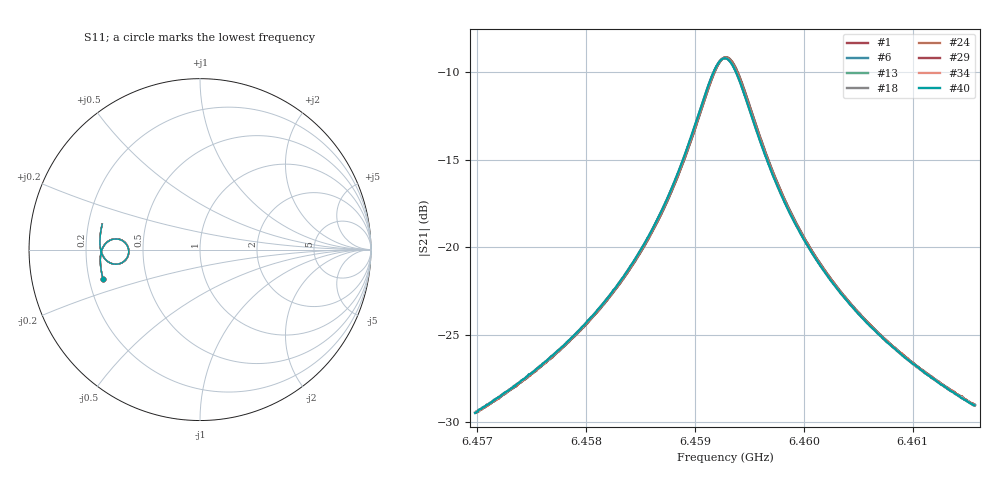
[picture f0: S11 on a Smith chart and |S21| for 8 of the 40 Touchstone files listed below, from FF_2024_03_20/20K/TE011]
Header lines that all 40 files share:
#  HZ  S  RI  R  50.00
! Rohde & Schwarz Vector Network Analyzer
! Rohde-Schwarz,ZNB20-2Port,1311601062101988,3.16
! freq[Hz]  re:S11  im:S11  re:S21  im:S21  re:S12  im:S12  re:S22  im:S22
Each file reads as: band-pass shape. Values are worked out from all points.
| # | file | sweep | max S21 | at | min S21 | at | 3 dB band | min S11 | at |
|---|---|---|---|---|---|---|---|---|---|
| 1 | 120_1_16.9999_20.5120468_30956.09_323.79889702796936_.s2p | 6.45701 GHz to 6.461566 GHz | -9.16 dB | 6.459288 GHz | -29.4 dB | 6.45701 GHz | 6.45906 GHz-6.459516 GHz | -7.6 dB | 6.459288 GHz |
| 2 | 121_1_16.9998_20.5075474_31166.146_326.1914463043213_.s2p | 6.457008 GHz to 6.461567 GHz | -9.16 dB | 6.459288 GHz | -29.4 dB | 6.457008 GHz | 6.45906 GHz-6.459504 GHz | -7.6 dB | 6.459288 GHz |
| 3 | 122_1_16.9997_20.5043926_32066.918_334.50564908981323_.s2p | 6.457009 GHz to 6.461565 GHz | -9.17 dB | 6.459287 GHz | -29.4 dB | 6.457009 GHz | 6.459059 GHz-6.459504 GHz | -7.6 dB | 6.459287 GHz |
| 4 | 123_1_16.9991_20.490406_32257.48_337.01782727241516_.s2p | 6.457003 GHz to 6.461569 GHz | -9.17 dB | 6.459286 GHz | -29.4 dB | 6.457003 GHz | 6.459069 GHz-6.459503 GHz | -7.6 dB | 6.459286 GHz |
| 5 | 124_1_16.9996_20.4856472_32508.244_339.469829082489_.s2p | 6.457006 GHz to 6.461566 GHz | -9.17 dB | 6.459286 GHz | -29.4 dB | 6.457006 GHz | 6.459058 GHz-6.459503 GHz | -7.6 dB | 6.459286 GHz |
| 6 | 125_1_16.9997_20.4830647_32738.684_341.8643898963928_.s2p | 6.457003 GHz to 6.461568 GHz | -9.17 dB | 6.459286 GHz | -29.4 dB | 6.457003 GHz | 6.459057 GHz-6.459503 GHz | -7.6 dB | 6.459286 GHz |
| 7 | 126_1_17.0004_20.4779415_32959.723_344.2804892063141_.s2p | 6.457002 GHz to 6.461568 GHz | -9.17 dB | 6.459285 GHz | -29.4 dB | 6.457002 GHz | 6.459057 GHz-6.459502 GHz | -7.6 dB | 6.459285 GHz |
| 8 | 127_1_16.9999_20.4734554_33231.039_346.693630695343_.s2p | 6.457002 GHz to 6.461568 GHz | -9.17 dB | 6.459285 GHz | -29.4 dB | 6.457002 GHz | 6.459057 GHz-6.459502 GHz | -7.6 dB | 6.459285 GHz |
| 9 | 128_1_16.9996_20.4705086_33491.855_349.1273732185364_.s2p | 6.457002 GHz to 6.461568 GHz | -9.17 dB | 6.459285 GHz | -29.4 dB | 6.457002 GHz | 6.459057 GHz-6.459502 GHz | -7.6 dB | 6.459285 GHz |
| 10 | 129_1_16.9993_20.4657936_33712.637_351.5328166484833_.s2p | 6.457002 GHz to 6.461567 GHz | -9.17 dB | 6.459285 GHz | -29.4 dB | 6.457002 GHz | 6.459056 GHz-6.459501 GHz | -7.6 dB | 6.459285 GHz |
| 11 | 130_1_16.9999_20.4617462_33952.969_353.9657881259918_.s2p | 6.457001 GHz to 6.461567 GHz | -9.17 dB | 6.459284 GHz | -29.4 dB | 6.457013 GHz | 6.459056 GHz-6.459501 GHz | -7.6 dB | 6.459284 GHz |
| 12 | 131_1_16.9993_20.458437_34164.289_356.3759341239929_.s2p | 6.457 GHz to 6.461568 GHz | -9.18 dB | 6.459284 GHz | -29.4 dB | 6.457 GHz | 6.459056 GHz-6.459501 GHz | -7.6 dB | 6.459284 GHz |
| 13 | 132_1_16.9998_20.4553604_34445.207_358.8155748844147_.s2p | 6.456999 GHz to 6.461569 GHz | -9.18 dB | 6.459284 GHz | -29.4 dB | 6.456999 GHz | 6.459055 GHz-6.459501 GHz | -7.6 dB | 6.459284 GHz |
| 14 | 133_1_16.9984_20.4527531_34675.648_361.2282543182373_.s2p | 6.457 GHz to 6.461567 GHz | -9.18 dB | 6.459283 GHz | -29.4 dB | 6.457 GHz | 6.459055 GHz-6.4595 GHz | -7.6 dB | 6.459283 GHz |
| 15 | 134_1_16.9995_20.4481773_34936.184_363.67130279541016_.s2p | 6.456997 GHz to 6.461569 GHz | -9.18 dB | 6.459283 GHz | -29.4 dB | 6.456997 GHz | 6.459066 GHz-6.4595 GHz | -7.6 dB | 6.459283 GHz |
| 16 | 135_1_16.9988_20.4437027_35177.316_366.0661509037018_.s2p | 6.456998 GHz to 6.461567 GHz | -9.18 dB | 6.459283 GHz | -29.4 dB | 6.456998 GHz | 6.459054 GHz-6.4595 GHz | -7.6 dB | 6.459283 GHz |
| 17 | 136_1_16.9999_20.4399624_35417.723_368.4877779483795_.s2p | 6.456997 GHz to 6.461568 GHz | -9.18 dB | 6.459283 GHz | -29.4 dB | 6.456997 GHz | 6.459054 GHz-6.4595 GHz | -7.6 dB | 6.459283 GHz |
| 18 | 137_1_16.9987_20.4357243_35658.91_370.9157576560974_.s2p | 6.456997 GHz to 6.461567 GHz | -9.18 dB | 6.459282 GHz | -29.4 dB | 6.456997 GHz | 6.459054 GHz-6.459499 GHz | -7.6 dB | 6.459282 GHz |
| 19 | 138_1_17.0005_20.4325886_35899.555_373.3523836135864_.s2p | 6.456998 GHz to 6.461566 GHz | -9.18 dB | 6.459282 GHz | -29.4 dB | 6.456998 GHz | 6.459053 GHz-6.45951 GHz | -7.6 dB | 6.459282 GHz |
| 20 | 139_1_17.0008_20.4284897_36150.141_375.77498149871826_.s2p | 6.456994 GHz to 6.46157 GHz | -9.19 dB | 6.459282 GHz | -29.4 dB | 6.456994 GHz | 6.459053 GHz-6.459499 GHz | -7.6 dB | 6.459282 GHz |
| 21 | 140_1_17.0_20.4246864_36391.137_378.1878442764282_.s2p | 6.456994 GHz to 6.461568 GHz | -9.19 dB | 6.459281 GHz | -29.4 dB | 6.456994 GHz | 6.459053 GHz-6.45951 GHz | -7.6 dB | 6.459281 GHz |
| 22 | 141_1_16.9994_20.4213219_36621.801_380.62168288230896_.s2p | 6.456992 GHz to 6.461571 GHz | -9.19 dB | 6.459281 GHz | -29.4 dB | 6.456992 GHz | 6.459052 GHz-6.459499 GHz | -7.6 dB | 6.459281 GHz |
| 23 | 142_1_16.9999_20.41716_36872.0_383.0463123321533_.s2p | 6.456993 GHz to 6.461569 GHz | -9.19 dB | 6.459281 GHz | -29.4 dB | 6.456993 GHz | 6.459052 GHz-6.459498 GHz | -7.6 dB | 6.459281 GHz |
| 24 | 143_1_16.9996_20.4134617_37123.027_385.4668264389038_.s2p | 6.45699 GHz to 6.46157 GHz | -9.19 dB | 6.45928 GHz | -29.4 dB | 6.45699 GHz | 6.459051 GHz-6.459498 GHz | -7.6 dB | 6.45928 GHz |
| 25 | 144_1_17.0003_20.4092007_37353.758_387.88854813575745_.s2p | 6.456989 GHz to 6.461571 GHz | -9.19 dB | 6.45928 GHz | -29.4 dB | 6.456989 GHz | 6.459051 GHz-6.459498 GHz | -7.6 dB | 6.45928 GHz |
| 26 | 145_1_17.0005_20.3968906_38176.684_395.9006607532501_.s2p | 6.456989 GHz to 6.46157 GHz | -9.20 dB | 6.459279 GHz | -29.4 dB | 6.456989 GHz | 6.45905 GHz-6.459497 GHz | -7.6 dB | 6.459279 GHz |
| 27 | 146_1_16.9999_20.3928032_38377.434_398.3226954936981_.s2p | 6.456987 GHz to 6.461571 GHz | -9.20 dB | 6.459279 GHz | -29.5 dB | 6.456987 GHz | 6.45905 GHz-6.459497 GHz | -7.6 dB | 6.459279 GHz |
| 28 | 147_1_16.9993_20.3880844_38648.117_400.7459890842438_.s2p | 6.456988 GHz to 6.46157 GHz | -9.20 dB | 6.459279 GHz | -29.4 dB | 6.456988 GHz | 6.45905 GHz-6.459497 GHz | -7.6 dB | 6.459279 GHz |
| 29 | 148_1_16.9996_20.3845596_38879.031_403.1639156341553_.s2p | 6.456987 GHz to 6.46157 GHz | -9.20 dB | 6.459279 GHz | -29.4 dB | 6.456987 GHz | 6.459049 GHz-6.459496 GHz | -7.6 dB | 6.459279 GHz |
| 30 | 149_1_16.9996_20.3800468_39129.527_405.59133434295654_.s2p | 6.456987 GHz to 6.461569 GHz | -9.20 dB | 6.459278 GHz | -29.4 dB | 6.456987 GHz | 6.459049 GHz-6.459507 GHz | -7.6 dB | 6.459278 GHz |
| 31 | 150_1_16.9986_20.3778877_39390.352_408.0118782520294_.s2p | 6.456987 GHz to 6.461569 GHz | -9.20 dB | 6.459278 GHz | -29.4 dB | 6.456987 GHz | 6.459049 GHz-6.459496 GHz | -7.6 dB | 6.459278 GHz |
| 32 | 151_1_17.0008_20.3737068_39631.691_410.4700856208801_.s2p | 6.456984 GHz to 6.461571 GHz | -9.21 dB | 6.459278 GHz | -29.5 dB | 6.456984 GHz | 6.459048 GHz-6.459496 GHz | -7.6 dB | 6.459278 GHz |
| 33 | 152_1_17.0_20.3694248_39862.305_412.90092873573303_.s2p | 6.456985 GHz to 6.46157 GHz | -9.21 dB | 6.459278 GHz | -29.4 dB | 6.456985 GHz | 6.459048 GHz-6.459495 GHz | -7.6 dB | 6.459278 GHz |
| 34 | 153_1_16.9978_20.365448_40102.977_415.33522605895996_.s2p | 6.456983 GHz to 6.461572 GHz | -9.21 dB | 6.459277 GHz | -29.4 dB | 6.456983 GHz | 6.459048 GHz-6.459495 GHz | -7.6 dB | 6.459277 GHz |
| 35 | 154_1_17.0001_20.3613186_40364.078_417.7500705718994_.s2p | 6.456983 GHz to 6.46157 GHz | -9.21 dB | 6.459277 GHz | -29.5 dB | 6.456983 GHz | 6.459047 GHz-6.459495 GHz | -7.6 dB | 6.459277 GHz |
| 36 | 155_1_17.0002_20.356842_40634.613_420.17116713523865_.s2p | 6.456984 GHz to 6.46157 GHz | -9.21 dB | 6.459277 GHz | -29.5 dB | 6.456984 GHz | 6.459047 GHz-6.459506 GHz | -7.6 dB | 6.459277 GHz |
| 37 | 156_1_17.0002_20.3526363_40825.5_422.5782730579376_.s2p | 6.456982 GHz to 6.461571 GHz | -9.21 dB | 6.459277 GHz | -29.4 dB | 6.456982 GHz | 6.459047 GHz-6.459495 GHz | -7.6 dB | 6.459277 GHz |
| 38 | 157_1_17.0008_20.3493576_41085.824_425.02309250831604_.s2p | 6.456982 GHz to 6.46157 GHz | -9.21 dB | 6.459276 GHz | -29.4 dB | 6.456982 GHz | 6.459047 GHz-6.459505 GHz | -7.6 dB | 6.459276 GHz |
| 39 | 158_1_17.0003_20.3459454_41326.445_427.4617829322815_.s2p | 6.45698 GHz to 6.461572 GHz | -9.21 dB | 6.459276 GHz | -29.5 dB | 6.45698 GHz | 6.459058 GHz-6.459494 GHz | -7.6 dB | 6.459276 GHz |
| 40 | 159_1_16.9999_20.3407478_41567.477_429.9282033443451_.s2p | 6.456984 GHz to 6.461568 GHz | -9.21 dB | 6.459276 GHz | -29.5 dB | 6.456984 GHz | 6.459047 GHz-6.459505 GHz | -7.6 dB | 6.459276 GHz |
